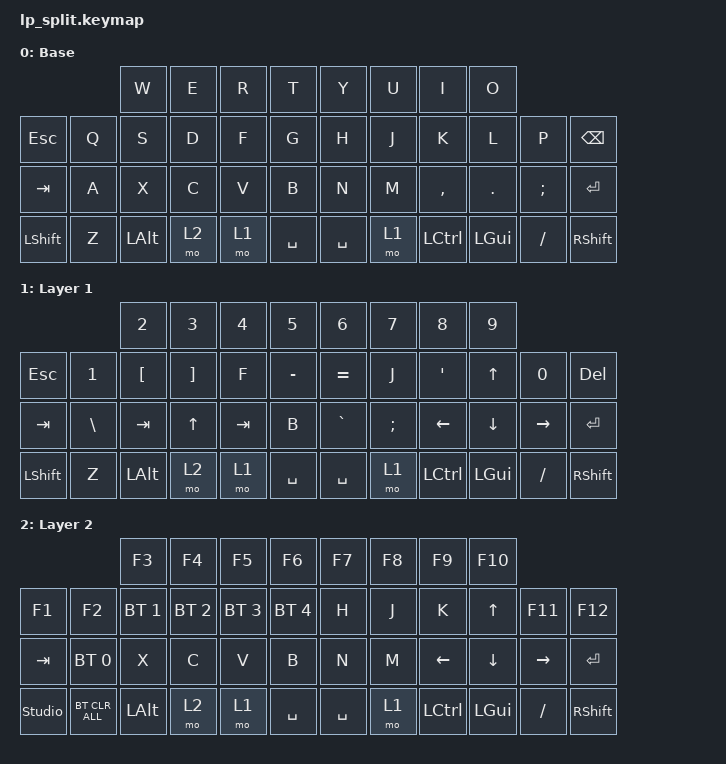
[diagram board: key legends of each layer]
// This file was generated from a template. Edit it to match your keyboard.
// See https://zmk.dev/docs/development/hardware-integration/new-shield for more instructions.

#include <behaviors.dtsi>
#include <dt-bindings/zmk/keys.h>
#include <dt-bindings/zmk/bt.h>

/ {
    // Define a default keymap here.
    // See https://zmk.dev/docs/development/hardware-integration/new-shield#default-keymap.
    keymap {
        compatible = "zmk,keymap";

        default_layer {
            display-name = "Base";
            bindings = <
                                       &kp W       &kp E    &kp R    &kp T        &kp Y        &kp U    &kp I        &kp O
                &kp ESCAPE    &kp Q    &kp S       &kp D    &kp F    &kp G        &kp H        &kp J    &kp K        &kp L       &kp P        &kp BACKSPACE
                &kp TAB       &kp A    &kp X       &kp C    &kp V    &kp B        &kp N        &kp M    &kp COMMA    &kp DOT     &kp SEMI     &kp ENTER
                &kp LSHIFT    &kp Z    &kp LALT    &mo 2    &mo 1    &kp SPACE    &kp SPACE    &mo 1    &kp LCTRL    &kp LGUI    &kp SLASH    &kp RSHIFT
            >;
        };
        Layer1 {
            display-name = "Layer 1";
            bindings = <
                                               &kp N2              &kp N3               &kp N4     &kp N5       &kp N6       &kp N7      &kp N8            &kp N9
                &kp ESCAPE    &kp N1           &kp LEFT_BRACKET    &kp RIGHT_BRACKET    &kp F      &kp MINUS    &kp EQUAL    &kp J       &kp APOSTROPHE    &kp UP      &kp N0       &kp DELETE
                &kp TAB       &kp BACKSLASH    &kp TAB             &kp UP               &kp TAB    &kp B        &kp GRAVE    &kp SEMI    &kp LEFT          &kp DOWN    &kp RIGHT    &kp ENTER
                &kp LSHIFT    &kp Z            &kp LALT            &mo 2                &mo 1      &kp SPACE    &kp SPACE    &mo 1       &kp LCTRL         &kp LGUI    &kp SLASH    &kp RSHIFT
            >;
        };
        Layer2 {
            display-name = "Layer 2";
            bindings = <
                                                    &kp F3          &kp F4          &kp F5          &kp F6          &kp F7       &kp F8    &kp F9     &kp F10
                &kp F1            &kp F2            &bt BT_SEL 1    &bt BT_SEL 2    &bt BT_SEL 3    &bt BT_SEL 4    &kp H        &kp J     &kp K      &kp UP     &kp F11      &kp F12
                &kp TAB           &bt BT_SEL 0      &kp X           &kp C           &kp V           &kp B           &kp N        &kp M     &kp LEFT   &kp DOWN   &kp RIGHT    &kp ENTER
                &studio_unlock    &bt BT_CLR_ALL    &kp LALT        &mo 2           &mo 1           &kp SPACE       &kp SPACE    &mo 1     &kp LCTRL  &kp LGUI   &kp SLASH    &kp RSHIFT
            >;
        };
        Extra1 {
            status = "reserved";
        };
        Extra2 {
            status = "reserved";
        };
    };
};
